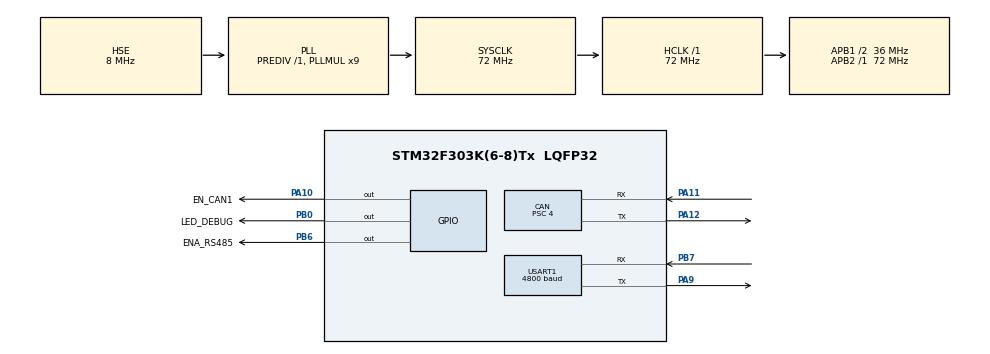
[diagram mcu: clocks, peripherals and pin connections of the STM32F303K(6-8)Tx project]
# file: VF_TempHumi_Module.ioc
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CAN.BS1=CAN_BS1_15TQ
CAN.BS2=CAN_BS2_2TQ
CAN.CalculateBaudRate=500000
CAN.CalculateTimeBit=2000
CAN.CalculateTimeQuantum=111.11111111111111
CAN.Prescaler=4
Mcu.Family=STM32F3
Mcu.Name=STM32F303K(6-8)Tx
Mcu.Package=LQFP32
NVIC.CAN_RX0_IRQn=true\:0\:0\:false\:false\:true\:true\:true\:true
NVIC.CAN_SCE_IRQn=true\:0\:0\:false\:false\:true\:true\:true\:true
NVIC.PriorityGroup=NVIC_PRIORITYGROUP_4
NVIC.USART1_IRQn=true\:0\:0\:false\:false\:true\:true\:true\:true
PA10.GPIO_Label=EN_CAN1
PA10.PinState=GPIO_PIN_SET
PA10.Signal=GPIO_Output
PA11.Mode=CAN_Activate
PA11.Signal=CAN_RX
PA12.Mode=CAN_Activate
PA12.Signal=CAN_TX
PA13.Mode=Serial_Wire
PA13.Signal=SYS_JTMS-SWDIO
PA14.Mode=Serial_Wire
PA14.Signal=SYS_JTCK-SWCLK
PA9.Mode=Asynchronous
PA9.Signal=USART1_TX
PB0.GPIO_Label=LED_DEBUG
PB0.PinState=GPIO_PIN_SET
PB0.Signal=GPIO_Output
PB6.GPIO_Label=ENA_RS485
PB6.Signal=GPIO_Output
PB7.Mode=Asynchronous
PB7.Signal=USART1_RX
PF0\ /\ OSC_IN.Mode=HSE-External-Oscillator
PF0\ /\ OSC_IN.Signal=RCC_OSC_IN
PF1\ /\ OSC_OUT.Mode=HSE-External-Oscillator
PF1\ /\ OSC_OUT.Signal=RCC_OSC_OUT
ProjectManager.HeapSize=0x200
ProjectManager.StackSize=0x400
ProjectManager.TargetToolchain=STM32CubeIDE
RCC.AHBFreq_Value=72000000
RCC.APB1CLKDivider=RCC_HCLK_DIV2
RCC.APB1Freq_Value=36000000
RCC.APB1TimFreq_Value=72000000
RCC.APB2Freq_Value=72000000
RCC.APB2TimFreq_Value=72000000
RCC.CortexFreq_Value=72000000
RCC.HCLKFreq_Value=72000000
RCC.HSE_VALUE=8000000
RCC.HSI_VALUE=8000000
RCC.PLLMUL=RCC_PLL_MUL9
RCC.PLLSourceVirtual=RCC_PLLSOURCE_HSE
RCC.SYSCLKFreq_VALUE=72000000
RCC.SYSCLKSourceVirtual=RCC_SYSCLKSOURCE_PLLCLK
USART1.BaudRate=4800
USART1.VirtualMode-Asynchronous=VM_ASYNC
board=custom

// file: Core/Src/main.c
/* USER CODE BEGIN Header */
/**
  ******************************************************************************
  * @file           : main.c
  * @brief          : Main program body
  ******************************************************************************
  * @attention
  *
  * Copyright (c) 2026 STMicroelectronics.
  * All rights reserved.
  *
  * This software is licensed under terms that can be found in the LICENSE file
  * in the root directory of this software component.
  * If no LICENSE file comes with this software, it is provided AS-IS.
  *
  ******************************************************************************
  */
/* USER CODE END Header */
#include "main.h"
#include "can.h"
#include "usart.h"
#include "gpio.h"

/* USER CODE BEGIN Includes */
#include "app/app_board.h"
#include "app/app_can.h"
#include "app/app_cfg_boot.h"
#include "app/app_config.h"
#include "app/app_diag.h"
#include "app/app_fault.h"
#include "app/app_led.h"
#include "app/app_th.h"

/* USER CODE END Includes */

/* USER CODE BEGIN PV */
/* Which build is on the chip. There is no console to print it on - JP2 carries
   SWD only and USART1 belongs to the sensor - so it lives in the image instead:
   a debugger watch on s_fw_id, or `strings VF_TempHumi_Module.elf`, shows it.
   main() anchors it for the linker - see USER CODE 2. */
static const char s_fw_id[] = "VF_TempHumi_Module phase " APP_FW_PHASE APP_FW_BENCH_TAGS;

/* This image's vector table, defined in startup_stm32f303k8tx.s. Wherever the
   linker places the image (0x08000000 alone, 0x08003000 behind the
   bootloader), VTOR taken from this symbol is right by construction. */
extern const uint32_t g_pfnVectors[];

/* USER CODE END PV */

void SystemClock_Config(void);

int main(void)
{

  /* USER CODE BEGIN 1 */
  /* BEFORE ANYTHING ELSE: release the RS485 bus. The board pulls MAX485 DE/RE
     up to +5 V through 5 kOhm (CLAUDE.md 4.3), so from power-on until this line
     the MAX485 is TRANSMITTING and holding the bus. This runs before HAL_Init on
     purpose: SystemClock_Config below can wait 100 ms for the crystal, and a
     dead crystal goes to Error_Handler before MX_GPIO_Init ever runs. */
  app_board_early_guard();

  /* Phase 5: the application may sit at 0x08003000 behind the bootloader.
     The bootloader sets VTOR before jumping, but a debug launch from CubeIDE
     starts the application directly, so the application sets it itself -
     before HAL_Init, whose SysTick is the first interrupt to need it. */
  SCB->VTOR = (uint32_t)g_pfnVectors;
  __DSB();
  __ISB();

  /* USER CODE END 1 */

  /* MCU Configuration--------------------------------------------------------*/

  /* Reset of all peripherals, Initializes the Flash interface and the Systick. */
  HAL_Init();

  /* Configure the system clock */
  SystemClock_Config();

  /* Initialize all configured peripherals */
  MX_GPIO_Init();
  MX_CAN_Init();
  MX_USART1_UART_Init();
  /* USER CODE BEGIN 2 */
  /* Restate the safe state instead of trusting the generated code for it.
     MX_GPIO_Init already drives these pins to the same levels, because the
     .ioc sets PB6 Low and PA10 High - but those are settings that last only
     until somebody forgets them on the next Generate:
       - PB6 high: the MAX485 holds the RS485 bus (CLAUDE.md 4.3);
       - PA10 low: the transceiver goes Normal and an unconfigured module ACKs
         on the measurement bus. A duplicate node_id takes the bus down, it
         does not just make the log messy (CLAUDE.md 1.2).

     From phase 4 the CAN state comes from the config in flash, decided once in
     app_can_init(): no valid config - a blank page included - means silent
     loopback, transceiver in standby and the node_id gate closed. Only a
     config that passes every check can put the transceiver in Normal, and
     only after bxCAN has started. */
  app_board_enter_safe_state();

  /* Nothing reads s_fw_id, so --gc-sections would drop it, and this
     toolchain ignores __attribute__((retain)). An empty asm that takes its
     address is a reference neither the compiler nor the linker may remove:
     one load, no other effect. */
  __asm__ volatile ("" : : "r" (s_fw_id));

  /* g_diag first (the others fill it), the LED before anything that can
     raise a fault (its init clears pending codes). The config before the
     sensor (a bench erase stalls the CPU; no Modbus transaction may be in
     flight) and before CAN (which asks it for the node_id). */
  app_diag_init();
  g_diag.app_base = SCB->VTOR;   /* must read 0x08003000 behind the bootloader */
  app_led_init(HAL_GetTick());
  app_cfg_boot();
  app_th_init(HAL_GetTick());
  app_can_init(HAL_GetTick());

  /* USER CODE END 2 */

  /* Infinite loop */
  while (1)
  {

    /* USER CODE BEGIN 3 */
    /* Bare-metal super-loop (CLAUDE.md 6.3), paced by the 1 ms SysTick. Every
       periodic job is a task that takes the tick, does its work and returns.
       Nothing here may block: the Modbus transaction is a state machine that
       the loop advances, and every wait in it is bounded and counted. */
    const uint32_t now_ms = HAL_GetTick();

    app_th_task(now_ms);
    app_can_task(now_ms);   /* after app_th: a reply that just landed goes out this second */
    app_led_task(now_ms);
  }
  /* USER CODE END 3 */
}

void SystemClock_Config(void)
{
  RCC_OscInitTypeDef RCC_OscInitStruct = {0};
  RCC_ClkInitTypeDef RCC_ClkInitStruct = {0};
  RCC_PeriphCLKInitTypeDef PeriphClkInit = {0};

  /** Initializes the RCC Oscillators according to the specified parameters
  * in the RCC_OscInitTypeDef structure.
  */
  RCC_OscInitStruct.OscillatorType = RCC_OSCILLATORTYPE_HSE;
  RCC_OscInitStruct.HSEState = RCC_HSE_ON;
  RCC_OscInitStruct.HSEPredivValue = RCC_HSE_PREDIV_DIV1;
  RCC_OscInitStruct.HSIState = RCC_HSI_ON;
  RCC_OscInitStruct.PLL.PLLState = RCC_PLL_ON;
  RCC_OscInitStruct.PLL.PLLSource = RCC_PLLSOURCE_HSE;
  RCC_OscInitStruct.PLL.PLLMUL = RCC_PLL_MUL9;
  if (HAL_RCC_OscConfig(&RCC_OscInitStruct) != HAL_OK)
  {
    Error_Handler();
  }

  /** Initializes the CPU, AHB and APB buses clocks
  */
  RCC_ClkInitStruct.ClockType = RCC_CLOCKTYPE_HCLK|RCC_CLOCKTYPE_SYSCLK
                              |RCC_CLOCKTYPE_PCLK1|RCC_CLOCKTYPE_PCLK2;
  RCC_ClkInitStruct.SYSCLKSource = RCC_SYSCLKSOURCE_PLLCLK;
  RCC_ClkInitStruct.AHBCLKDivider = RCC_SYSCLK_DIV1;
  RCC_ClkInitStruct.APB1CLKDivider = RCC_HCLK_DIV2;
  RCC_ClkInitStruct.APB2CLKDivider = RCC_HCLK_DIV1;

  if (HAL_RCC_ClockConfig(&RCC_ClkInitStruct, FLASH_LATENCY_2) != HAL_OK)
  {
    Error_Handler();
  }
  PeriphClkInit.PeriphClockSelection = RCC_PERIPHCLK_USART1;
  PeriphClkInit.Usart1ClockSelection = RCC_USART1CLKSOURCE_PCLK1;
  if (HAL_RCCEx_PeriphCLKConfig(&PeriphClkInit) != HAL_OK)
  {
    Error_Handler();
  }
}

void Error_Handler(void)
{
  /* USER CODE BEGIN Error_Handler_Debug */
  /* A HAL init failed. From here: RS485 released, silent on CAN1, LED never
     solid, and the failure visible as blink code 1.

     The return address says which init failed: look it up in
     Debug/VF_TempHumi_Module.list (clear bit 0 first - it is the Thumb bit).
     Read it with a debugger through app_fault_detail() / s_detail. */
  const uint32_t caller = (uint32_t)__builtin_return_address(0);

  __disable_irq();

  /* Run the GPIO init again. If the failure was SystemClock_Config - a dead
     HSE crystal is the likely one on a new board - MX_GPIO_Init has not run
     yet and the LED pin is still an input: without this the LED could not
     blink at all. It only configures the three labelled pins, to their safe
     .ioc levels, and it cannot call Error_Handler itself. PB6 and PA10 are
     already safe from app_board_early_guard(). */
  MX_GPIO_Init();

  app_fault_fatal(APP_FAULT_HAL_INIT, caller);
  /* USER CODE END Error_Handler_Debug */
}
